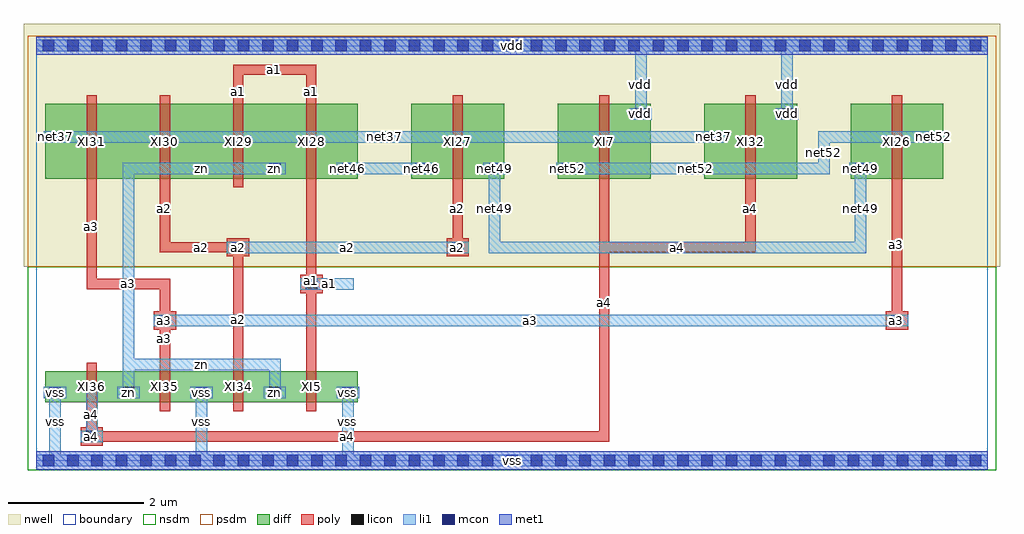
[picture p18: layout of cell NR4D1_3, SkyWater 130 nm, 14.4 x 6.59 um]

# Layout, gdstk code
import gdstk
lib = gdstk.Library(unit=1e-6, precision=1e-09)
def R(c, l, rs):  # rectangles x0, y0, x1, y1
    for r in rs: c.add(gdstk.rectangle(r[:2], r[2:], *l))
def A(c, l, x, y, w, h, nx, ny, dx, dy):  # array of equal rectangles
    R(c, l, [(x+i*dx, y+j*dy, x+i*dx+w, y+j*dy+h) for i in range(nx) for j in range(ny)])
L0_0 = (0, 0)
nwell = (64, 20)
diff = (65, 20)
poly = (66, 20)
licon = (66, 44)
li1 = (67, 20)
mcon = (67, 44)
met1 = (68, 20)
nsdm = (93, 44)
psdm = (94, 20)
boundary = (235, 4)

nr4d1_3 = lib.new_cell('NR4D1_3')
R(nr4d1_3, nwell, [(-0.18,2.86,14.22,6.445)])
A(nr4d1_3, diff, 0.135, 0.86, 1.37, 0.455, 4, 1, 1.08, 0)
A(nr4d1_3, diff, 0.135, 0.86, 0.29, 0.29, 5, 1, 1.08, 0)
A(nr4d1_3, diff, 0.135, 4.16, 1.37, 1.1, 4, 1, 1.08, 0)
A(nr4d1_3, diff, 3.375, 4.16, 0.29, 0.29, 5, 1, 1.08, 0)
A(nr4d1_3, diff, 5.535, 4.16, 1.37, 1.1, 4, 1, 2.16, 0)
R(nr4d1_3, diff, [(12.015,4.16,12.305,4.45), (0.135,4.63,0.425,4.92), (9.855,4.63,10.145,4.92), (13.095,4.63,13.385,4.92), (8.775,4.97,9.065,5.26), (10.935,4.97,11.225,5.26)])
A(nr4d1_3, poly, 0.745, 0.73, 0.15, 0.715, 4, 1, 1.08, 0)
A(nr4d1_3, poly, 1.825, 3.07, 0.15, 1.31, 3, 1, 4.32, 0)
A(nr4d1_3, poly, 0.745, 4.03, 0.15, 1.36, 4, 1, 1.08, 0)
A(nr4d1_3, poly, 6.145, 4.03, 0.15, 1.36, 4, 1, 2.16, 0)
R(nr4d1_3, poly, [(0.655,0.22,0.985,0.49), (0.745,0.28,0.895,1.08), (0.745,0.28,8.455,0.43), (8.305,0.28,8.455,4.38), (1.825,0.93,1.975,2.68), (2.905,0.93,3.055,3.22), (3.985,0.93,4.135,4.38), (1.735,1.93,2.065,2.2), (12.535,1.93,12.865,2.2), (12.625,1.99,12.775,4.38), (3.895,2.47,4.225,2.74), (0.745,2.53,1.975,2.68), (0.745,2.53,0.895,4.38), (2.815,3.01,3.145,3.28), (6.055,3.01,6.385,3.28), (1.825,3.07,3.055,3.22), (8.305,3.07,10.615,3.22), (2.905,5.04,3.055,5.84), (3.985,5.04,4.135,5.84), (2.905,5.69,4.135,5.84)])
A(nr4d1_3, licon, 0.195, 0.92, 0.17, 0.17, 5, 1, 1.08, 0)
A(nr4d1_3, licon, 3.435, 4.22, 0.17, 0.17, 5, 1, 1.08, 0)
R(nr4d1_3, licon, [(0.735,0.27,0.905,0.44), (1.815,1.98,1.985,2.15), (12.615,1.98,12.785,2.15), (3.975,2.52,4.145,2.69), (2.895,3.06,3.065,3.23), (6.135,3.06,6.305,3.23), (12.075,4.22,12.245,4.39), (0.195,4.69,0.365,4.86), (9.915,4.69,10.085,4.86), (13.155,4.69,13.325,4.86), (8.835,5.03,9.005,5.2), (10.995,5.03,11.165,5.2)])
A(nr4d1_3, li1, 0.195, 0.06, 0.17, 1.03, 3, 1, 2.16, 0)
A(nr4d1_3, li1, 0.115, 0.92, 0.33, 0.17, 5, 1, 1.08, 0)
A(nr4d1_3, li1, 3.355, 4.22, 0.33, 0.17, 5, 1, 1.08, 0)
R(nr4d1_3, li1, [(0,-0.085,14.04,0.085), (0.655,0.27,0.985,0.44), (0.735,0.27,0.905,1.09), (1.275,0.92,1.445,4.39), (3.435,0.92,3.605,1.5), (1.275,1.33,3.605,1.5), (1.735,1.98,2.065,2.15), (1.815,1.98,12.785,2.15), (12.535,1.98,12.865,2.15), (3.895,2.52,4.225,2.69), (3.975,2.52,4.685,2.69), (2.815,3.06,3.145,3.23), (2.895,3.06,6.305,3.23), (6.055,3.06,6.385,3.23), (6.675,3.06,6.845,4.39), (6.675,3.06,12.245,3.23), (12.075,3.06,12.245,4.39), (1.275,4.22,3.605,4.39), (4.515,4.22,5.765,4.39), (7.755,4.22,11.705,4.39), (11.535,4.22,11.705,4.86), (11.995,4.22,12.325,4.39), (0.115,4.69,0.445,4.86), (0.195,4.69,10.085,4.86), (9.835,4.69,10.165,4.86), (11.535,4.69,13.325,4.86), (13.075,4.69,13.405,4.86), (8.755,5.03,9.085,5.2), (8.835,5.03,9.005,6.06), (10.915,5.03,11.245,5.2), (10.995,5.03,11.165,6.06), (0,6.035,14.04,6.205)])
A(nr4d1_3, mcon, 0.095, -0.085, 0.17, 0.17, 39, 2, 0.36, 6.12)
R(nr4d1_3, met1, [(0,-0.135,14.04,0.135), (0,5.985,14.04,6.255)])
R(nr4d1_3, nsdm, [(-0.125,-0.145,14.165,0.145), (-0.125,0.145,14.165,2.86)])
R(nr4d1_3, psdm, [(-0.125,2.86,14.165,5.975), (-0.125,5.975,14.165,6.265)])
R(nr4d1_3, boundary, [(0,0,14.04,6.12)])
nr4d1_3.add(gdstk.FlexPath([(0.115,0.355),(13.405,0.355)], 0, ends="flush", simple_path=True, layer=0, datatype=0))  # L0_0
nr4d1_3.add(gdstk.FlexPath([(0.115,1.005),(13.405,1.005)], 0, ends="flush", simple_path=True, layer=0, datatype=0))  # L0_0
nr4d1_3.add(gdstk.FlexPath([(0.115,1.415),(13.405,1.415)], 0, ends="flush", simple_path=True, layer=0, datatype=0))  # L0_0
nr4d1_3.add(gdstk.FlexPath([(0.115,2.065),(13.405,2.065)], 0, ends="flush", simple_path=True, layer=0, datatype=0))  # L0_0
nr4d1_3.add(gdstk.FlexPath([(0.115,2.605),(13.405,2.605)], 0, ends="flush", simple_path=True, layer=0, datatype=0))  # L0_0
nr4d1_3.add(gdstk.FlexPath([(0.115,3.145),(13.405,3.145)], 0, ends="flush", simple_path=True, layer=0, datatype=0))  # L0_0
nr4d1_3.add(gdstk.FlexPath([(0.115,4.305),(13.405,4.305)], 0, ends="flush", simple_path=True, layer=0, datatype=0))  # L0_0
nr4d1_3.add(gdstk.FlexPath([(0.115,4.775),(13.405,4.775)], 0, ends="flush", simple_path=True, layer=0, datatype=0))  # L0_0
nr4d1_3.add(gdstk.FlexPath([(0.115,5.115),(13.405,5.115)], 0, ends="flush", simple_path=True, layer=0, datatype=0))  # L0_0
nr4d1_3.add(gdstk.FlexPath([(0.115,5.765),(13.405,5.765)], 0, ends="flush", simple_path=True, layer=0, datatype=0))  # L0_0
nr4d1_3.add(gdstk.FlexPath([(0.28,0.06),(0.28,6.06)], 0, ends="flush", simple_path=True, layer=0, datatype=0))  # L0_0
nr4d1_3.add(gdstk.FlexPath([(0.82,0.06),(0.82,6.06)], 0, ends="flush", simple_path=True, layer=0, datatype=0))  # L0_0
nr4d1_3.add(gdstk.FlexPath([(1.36,0.06),(1.36,6.06)], 0, ends="flush", simple_path=True, layer=0, datatype=0))  # L0_0
nr4d1_3.add(gdstk.FlexPath([(1.9,0.06),(1.9,6.06)], 0, ends="flush", simple_path=True, layer=0, datatype=0))  # L0_0
nr4d1_3.add(gdstk.FlexPath([(2.44,0.06),(2.44,6.06)], 0, ends="flush", simple_path=True, layer=0, datatype=0))  # L0_0
nr4d1_3.add(gdstk.FlexPath([(2.98,0.06),(2.98,6.06)], 0, ends="flush", simple_path=True, layer=0, datatype=0))  # L0_0
nr4d1_3.add(gdstk.FlexPath([(3.52,0.06),(3.52,6.06)], 0, ends="flush", simple_path=True, layer=0, datatype=0))  # L0_0
nr4d1_3.add(gdstk.FlexPath([(4.06,0.06),(4.06,6.06)], 0, ends="flush", simple_path=True, layer=0, datatype=0))  # L0_0
nr4d1_3.add(gdstk.FlexPath([(4.6,0.06),(4.6,6.06)], 0, ends="flush", simple_path=True, layer=0, datatype=0))  # L0_0
nr4d1_3.add(gdstk.FlexPath([(5.14,0.06),(5.14,6.06)], 0, ends="flush", simple_path=True, layer=0, datatype=0))  # L0_0
nr4d1_3.add(gdstk.FlexPath([(5.68,0.06),(5.68,6.06)], 0, ends="flush", simple_path=True, layer=0, datatype=0))  # L0_0
nr4d1_3.add(gdstk.FlexPath([(6.22,0.06),(6.22,6.06)], 0, ends="flush", simple_path=True, layer=0, datatype=0))  # L0_0
nr4d1_3.add(gdstk.FlexPath([(6.76,0.06),(6.76,6.06)], 0, ends="flush", simple_path=True, layer=0, datatype=0))  # L0_0
nr4d1_3.add(gdstk.FlexPath([(7.3,0.06),(7.3,6.06)], 0, ends="flush", simple_path=True, layer=0, datatype=0))  # L0_0
nr4d1_3.add(gdstk.FlexPath([(7.84,0.06),(7.84,6.06)], 0, ends="flush", simple_path=True, layer=0, datatype=0))  # L0_0
nr4d1_3.add(gdstk.FlexPath([(8.38,0.06),(8.38,6.06)], 0, ends="flush", simple_path=True, layer=0, datatype=0))  # L0_0
nr4d1_3.add(gdstk.FlexPath([(8.92,0.06),(8.92,6.06)], 0, ends="flush", simple_path=True, layer=0, datatype=0))  # L0_0
nr4d1_3.add(gdstk.FlexPath([(9.46,0.06),(9.46,6.06)], 0, ends="flush", simple_path=True, layer=0, datatype=0))  # L0_0
nr4d1_3.add(gdstk.FlexPath([(10,0.06),(10,6.06)], 0, ends="flush", simple_path=True, layer=0, datatype=0))  # L0_0
nr4d1_3.add(gdstk.FlexPath([(10.54,0.06),(10.54,6.06)], 0, ends="flush", simple_path=True, layer=0, datatype=0))  # L0_0
nr4d1_3.add(gdstk.FlexPath([(11.08,0.06),(11.08,6.06)], 0, ends="flush", simple_path=True, layer=0, datatype=0))  # L0_0
nr4d1_3.add(gdstk.FlexPath([(11.62,0.06),(11.62,6.06)], 0, ends="flush", simple_path=True, layer=0, datatype=0))  # L0_0
nr4d1_3.add(gdstk.FlexPath([(12.16,0.06),(12.16,6.06)], 0, ends="flush", simple_path=True, layer=0, datatype=0))  # L0_0
nr4d1_3.add(gdstk.FlexPath([(12.7,0.06),(12.7,6.06)], 0, ends="flush", simple_path=True, layer=0, datatype=0))  # L0_0
nr4d1_3.add(gdstk.FlexPath([(13.24,0.06),(13.24,6.06)], 0, ends="flush", simple_path=True, layer=0, datatype=0))  # L0_0
nr4d1_3.add(gdstk.Label('XI36', (0.82,1.088), layer=65, texttype=20))
nr4d1_3.add(gdstk.Label('XI35', (1.9,1.088), layer=65, texttype=20))
nr4d1_3.add(gdstk.Label('XI34', (2.98,1.088), layer=65, texttype=20))
nr4d1_3.add(gdstk.Label('XI5', (4.06,1.088), layer=65, texttype=20))
nr4d1_3.add(gdstk.Label('XI26', (12.7,4.71), layer=65, texttype=20))
nr4d1_3.add(gdstk.Label('XI30', (1.9,4.71), layer=65, texttype=20))
nr4d1_3.add(gdstk.Label('XI31', (0.82,4.71), layer=65, texttype=20))
nr4d1_3.add(gdstk.Label('XI32', (10.54,4.71), layer=65, texttype=20))
nr4d1_3.add(gdstk.Label('XI29', (2.98,4.71), layer=65, texttype=20))
nr4d1_3.add(gdstk.Label('XI7', (8.38,4.71), layer=65, texttype=20))
nr4d1_3.add(gdstk.Label('XI27', (6.22,4.71), layer=65, texttype=20))
nr4d1_3.add(gdstk.Label('XI28', (4.06,4.71), layer=65, texttype=20))
nr4d1_3.add(gdstk.Label('zn', (1.36,1.005), layer=65, texttype=20))
nr4d1_3.add(gdstk.Label('zn', (3.52,1.005), layer=65, texttype=20))
nr4d1_3.add(gdstk.Label('zn', (3.52,4.305), layer=65, texttype=20))
nr4d1_3.add(gdstk.Label('net49', (12.16,4.305), layer=65, texttype=20))
nr4d1_3.add(gdstk.Label('net49', (6.76,4.305), layer=65, texttype=20))
nr4d1_3.add(gdstk.Label('net52', (13.24,4.775), layer=65, texttype=20))
nr4d1_3.add(gdstk.Label('net52', (7.84,4.305), layer=65, texttype=20))
nr4d1_3.add(gdstk.Label('net37', (0.28,4.775), layer=65, texttype=20))
nr4d1_3.add(gdstk.Label('net37', (10,4.775), layer=65, texttype=20))
nr4d1_3.add(gdstk.Label('net46', (5.68,4.305), layer=65, texttype=20))
nr4d1_3.add(gdstk.Label('net46', (4.6,4.305), layer=65, texttype=20))
nr4d1_3.add(gdstk.Label('vss', (0.28,1.005), layer=65, texttype=20))
nr4d1_3.add(gdstk.Label('vss', (2.44,1.005), layer=65, texttype=20))
nr4d1_3.add(gdstk.Label('vss', (4.6,1.005), layer=65, texttype=20))
nr4d1_3.add(gdstk.Label('vdd', (11.08,5.115), layer=65, texttype=20))
nr4d1_3.add(gdstk.Label('vdd', (8.92,5.115), layer=65, texttype=20))
nr4d1_3.add(gdstk.Label('a4', (0.82,0.68), layer=66, texttype=20))
nr4d1_3.add(gdstk.Label('a4', (4.6,0.355), layer=66, texttype=20))
nr4d1_3.add(gdstk.Label('a4', (8.38,2.33), layer=66, texttype=20))
nr4d1_3.add(gdstk.Label('a4', (10.54,3.725), layer=66, texttype=20))
nr4d1_3.add(gdstk.Label('a4', (9.46,3.145), layer=66, texttype=20))
nr4d1_3.add(gdstk.Label('a4', (0.82,0.355), layer=66, texttype=20))
nr4d1_3.add(gdstk.Label('a3', (1.9,1.805), layer=66, texttype=20))
nr4d1_3.add(gdstk.Label('a3', (1.36,2.605), layer=66, texttype=20))
nr4d1_3.add(gdstk.Label('a3', (0.82,3.455), layer=66, texttype=20))
nr4d1_3.add(gdstk.Label('a3', (12.7,3.185), layer=66, texttype=20))
nr4d1_3.add(gdstk.Label('a3', (12.7,2.065), layer=66, texttype=20))
nr4d1_3.add(gdstk.Label('a3', (1.9,2.065), layer=66, texttype=20))
nr4d1_3.add(gdstk.Label('a2', (2.98,2.075), layer=66, texttype=20))
nr4d1_3.add(gdstk.Label('a2', (2.44,3.145), layer=66, texttype=20))
nr4d1_3.add(gdstk.Label('a2', (1.9,3.725), layer=66, texttype=20))
nr4d1_3.add(gdstk.Label('a2', (2.98,3.145), layer=66, texttype=20))
nr4d1_3.add(gdstk.Label('a2', (6.22,3.145), layer=66, texttype=20))
nr4d1_3.add(gdstk.Label('a2', (6.22,3.725), layer=66, texttype=20))
nr4d1_3.add(gdstk.Label('a1', (4.06,2.655), layer=66, texttype=20))
nr4d1_3.add(gdstk.Label('a1', (2.98,5.44), layer=66, texttype=20))
nr4d1_3.add(gdstk.Label('a1', (3.52,5.765), layer=66, texttype=20))
nr4d1_3.add(gdstk.Label('a1', (4.06,5.44), layer=66, texttype=20))
nr4d1_3.add(gdstk.Label('a1', (4.06,2.605), layer=66, texttype=20))
nr4d1_3.add(gdstk.Label('zn', (1.36,1.005), layer=66, texttype=44))
nr4d1_3.add(gdstk.Label('zn', (3.52,1.005), layer=66, texttype=44))
nr4d1_3.add(gdstk.Label('zn', (3.52,4.305), layer=66, texttype=44))
nr4d1_3.add(gdstk.Label('a4', (0.82,0.355), layer=66, texttype=44))
nr4d1_3.add(gdstk.Label('a3', (12.7,2.065), layer=66, texttype=44))
nr4d1_3.add(gdstk.Label('a3', (1.9,2.065), layer=66, texttype=44))
nr4d1_3.add(gdstk.Label('a2', (2.98,3.145), layer=66, texttype=44))
nr4d1_3.add(gdstk.Label('a2', (6.22,3.145), layer=66, texttype=44))
nr4d1_3.add(gdstk.Label('a1', (4.06,2.605), layer=66, texttype=44))
nr4d1_3.add(gdstk.Label('net49', (12.16,4.305), layer=66, texttype=44))
nr4d1_3.add(gdstk.Label('net49', (6.76,4.305), layer=66, texttype=44))
nr4d1_3.add(gdstk.Label('net52', (13.24,4.775), layer=66, texttype=44))
nr4d1_3.add(gdstk.Label('net52', (7.84,4.305), layer=66, texttype=44))
nr4d1_3.add(gdstk.Label('net37', (0.28,4.775), layer=66, texttype=44))
nr4d1_3.add(gdstk.Label('net37', (10,4.775), layer=66, texttype=44))
nr4d1_3.add(gdstk.Label('net46', (5.68,4.305), layer=66, texttype=44))
nr4d1_3.add(gdstk.Label('net46', (4.6,4.305), layer=66, texttype=44))
nr4d1_3.add(gdstk.Label('vss', (0.28,1.005), layer=66, texttype=44))
nr4d1_3.add(gdstk.Label('vss', (2.44,1.005), layer=66, texttype=44))
nr4d1_3.add(gdstk.Label('vss', (4.6,1.005), layer=66, texttype=44))
nr4d1_3.add(gdstk.Label('vdd', (11.08,5.115), layer=66, texttype=44))
nr4d1_3.add(gdstk.Label('vdd', (8.92,5.115), layer=66, texttype=44))
nr4d1_3.add(gdstk.Label('zn', (1.36,1.005), layer=67, texttype=16))
nr4d1_3.add(gdstk.Label('zn', (3.52,1.005), layer=67, texttype=16))
nr4d1_3.add(gdstk.Label('zn', (3.52,4.305), layer=67, texttype=16))
nr4d1_3.add(gdstk.Label('zn', (1.36,2.655), layer=67, texttype=16))
nr4d1_3.add(gdstk.Label('zn', (2.44,4.305), layer=67, texttype=16))
nr4d1_3.add(gdstk.Label('zn', (3.52,1.21), layer=67, texttype=16))
nr4d1_3.add(gdstk.Label('zn', (2.44,1.415), layer=67, texttype=16))
nr4d1_3.add(gdstk.Label('a4', (0.82,0.355), layer=67, texttype=16))
nr4d1_3.add(gdstk.Label('a4', (0.82,0.68), layer=67, texttype=16))
nr4d1_3.add(gdstk.Label('a3', (12.7,2.065), layer=67, texttype=16))
nr4d1_3.add(gdstk.Label('a3', (7.3,2.065), layer=67, texttype=16))
nr4d1_3.add(gdstk.Label('a3', (1.9,2.065), layer=67, texttype=16))
nr4d1_3.add(gdstk.Label('a2', (2.98,3.145), layer=67, texttype=16))
nr4d1_3.add(gdstk.Label('a2', (4.6,3.145), layer=67, texttype=16))
nr4d1_3.add(gdstk.Label('a2', (6.22,3.145), layer=67, texttype=16))
nr4d1_3.add(gdstk.Label('a1', (4.06,2.605), layer=67, texttype=16))
nr4d1_3.add(gdstk.Label('a1', (4.33,2.605), layer=67, texttype=16))
nr4d1_3.add(gdstk.Label('net49', (12.16,4.305), layer=67, texttype=20))
nr4d1_3.add(gdstk.Label('net49', (6.76,4.305), layer=67, texttype=20))
nr4d1_3.add(gdstk.Label('net49', (12.16,3.725), layer=67, texttype=20))
nr4d1_3.add(gdstk.Label('net49', (9.46,3.145), layer=67, texttype=20))
nr4d1_3.add(gdstk.Label('net49', (6.76,3.725), layer=67, texttype=20))
nr4d1_3.add(gdstk.Label('net52', (13.24,4.775), layer=67, texttype=20))
nr4d1_3.add(gdstk.Label('net52', (7.84,4.305), layer=67, texttype=20))
nr4d1_3.add(gdstk.Label('net52', (12.43,4.775), layer=67, texttype=20))
nr4d1_3.add(gdstk.Label('net52', (11.62,4.54), layer=67, texttype=20))
nr4d1_3.add(gdstk.Label('net52', (9.73,4.305), layer=67, texttype=20))
nr4d1_3.add(gdstk.Label('net37', (0.28,4.775), layer=67, texttype=20))
nr4d1_3.add(gdstk.Label('net37', (10,4.775), layer=67, texttype=20))
nr4d1_3.add(gdstk.Label('net37', (5.14,4.775), layer=67, texttype=20))
nr4d1_3.add(gdstk.Label('net46', (5.68,4.305), layer=67, texttype=20))
nr4d1_3.add(gdstk.Label('net46', (4.6,4.305), layer=67, texttype=20))
nr4d1_3.add(gdstk.Label('net46', (5.14,4.305), layer=67, texttype=20))
nr4d1_3.add(gdstk.Label('vss', (0.28,1.005), layer=67, texttype=20))
nr4d1_3.add(gdstk.Label('vss', (0.28,0.575), layer=67, texttype=20))
nr4d1_3.add(gdstk.Label('vss', (2.44,1.005), layer=67, texttype=20))
nr4d1_3.add(gdstk.Label('vss', (2.44,0.575), layer=67, texttype=20))
nr4d1_3.add(gdstk.Label('vss', (4.6,1.005), layer=67, texttype=20))
nr4d1_3.add(gdstk.Label('vss', (4.6,0.575), layer=67, texttype=20))
nr4d1_3.add(gdstk.Label('vdd', (11.08,5.115), layer=67, texttype=20))
nr4d1_3.add(gdstk.Label('vdd', (11.08,5.545), layer=67, texttype=20))
nr4d1_3.add(gdstk.Label('vdd', (8.92,5.115), layer=67, texttype=20))
nr4d1_3.add(gdstk.Label('vdd', (8.92,5.545), layer=67, texttype=20))
nr4d1_3.add(gdstk.Label('vss', (7.02,0), layer=67, texttype=16))
nr4d1_3.add(gdstk.Label('vdd', (7.02,6.12), layer=67, texttype=16))
nr4d1_3.add(gdstk.Label('vss', (7.02,0), layer=68, texttype=16))
nr4d1_3.add(gdstk.Label('vdd', (7.02,6.12), layer=68, texttype=16))

lib.write_gds('NR4D1_3.gds')
